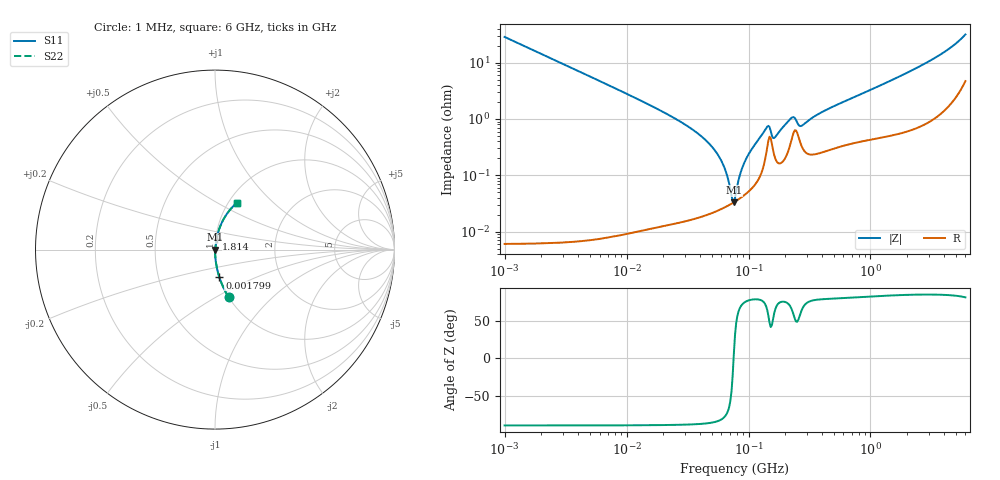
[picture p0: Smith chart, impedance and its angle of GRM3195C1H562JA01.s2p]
!Murata Part Number: GRM3195C1H562JA01
!These Parameters are Measured in Series Mode Connection
!Data Generated on Mar 30, 2021
!  o--ll--o
!Port1  Port2
!  o------o
!Operation Temp=25[degC], DC Bias Voltage=0[V]
!Freq. Start=1000[kHz] Stop=6[GHz] 401[Steps]
# Hz S RI R 50
!Freq.(Hz) S11(Real) S11(Imag) S21(Real) S21(Imag) S12(Real) S12(Imag) S22(Real) S22(Imag)
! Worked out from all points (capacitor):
!   401 points, 1 MHz to 6 GHz, reference 50 ohm
!   read as one part in series: C = 5.56 nF near 1.044 MHz
!   lowest |Z| = 33.4 mohm at 75.79 MHz (marker M1)
!   series resonance near 75.45 MHz, so ESL is about 800 pH
!   S11 on the Smith chart (normalised r, x): 1 MHz: 1.00, -0.57; 1.799 MHz: 1.00, -0.32; 1.814 GHz: 1.01, +0.12; 6 GHz: 1.09, +0.63
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1000000  0.0757 -0.2645  0.9243 0.2645  0.9243 0.2645  0.0757 -0.2645
1798975  0.0247 -0.1551  0.9753 0.1551  0.9753 0.1551  0.0247 -0.1551
4293785  0.00446 -0.0661  0.9955 0.0661  0.9955 0.0661  0.00446 -0.0661
1.843659e7  0.000333 -0.0146  0.9997 0.0146  0.9997 0.0146  0.000333 -0.0146
3.46415e7  0.000207 -0.00653  0.9998 0.00653  0.9998 0.00653  0.000207 -0.00653
5.013812e7  0.000224 -0.00321  0.9998 0.00321  0.9998 0.00321  0.000224 -0.00321
6.23192e7  0.000266 -0.00148  0.9997 0.00148  0.9997 0.00148  0.000266 -0.00148
7.256705e7  0.000315 -0.000302  0.9997 0.000302  0.9997 0.000302  0.000315 -0.000302
7.57932e7  0.000333 3.52e-05  0.9997 -3.52e-05  0.9997 -3.52e-05  0.000333 3.52e-05
7.745967e7  0.000342 0.000205  0.9997 -0.000205  0.9997 -0.000205  0.000342 0.000205
8.635799e7  0.000401 0.00107  0.9996 -0.00107  0.9996 -0.00107  0.000401 0.00107
9.420718e7  0.000464 0.00178  0.9995 -0.00178  0.9995 -0.00178  0.000464 0.00178
1.39348e8  0.00242 0.00638  0.9976 -0.00638  0.9976 -0.00638  0.00242 0.00638
1.455431e8  0.00419 0.00627  0.9958 -0.00627  0.9958 -0.00627  0.00419 0.00627
1.622626e8  0.00231 0.00395  0.9977 -0.00395  0.9977 -0.00395  0.00231 0.00395
2.248532e8  0.00427 0.00948  0.9957 -0.00948  0.9957 -0.00948  0.00427 0.00948
2.675853e8  0.00368 0.00648  0.9963 -0.00648  0.9963 -0.00648  0.00368 0.00648
3.325952e8  0.00243 0.0102  0.9976 -0.0102  0.9976 -0.0102  0.00243 0.0102
1.428092e9  0.00709 0.046  0.9929 -0.046  0.9929 -0.046  0.00709 0.046
1.814076e9  0.00909 0.0587  0.9909 -0.0587  0.9909 -0.0587  0.00909 0.0587
3.638376e9  0.0284 0.1283  0.9716 -0.1283  0.9716 -0.1283  0.0284 0.1283
6e9  0.1232 0.262  0.8768 -0.262  0.8768 -0.262  0.1232 0.262
